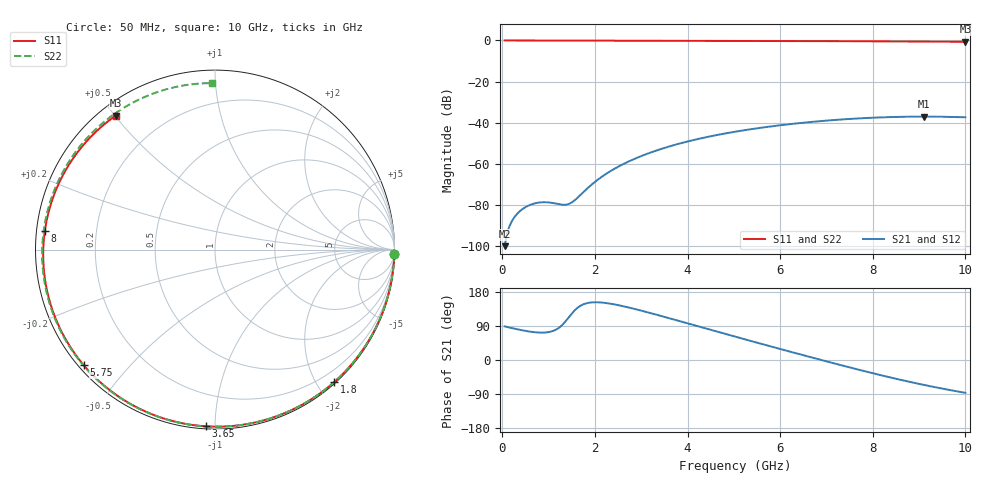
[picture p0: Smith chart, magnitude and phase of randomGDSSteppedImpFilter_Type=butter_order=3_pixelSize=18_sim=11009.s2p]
! freq	dB(S11)	phase(S11)	dB(S12)	phase(S12)
!  dB(S21)	phase(S21)	dB(S22)	phase(S22)
!S-par simulation data
#  GHz  S  DB  R 50
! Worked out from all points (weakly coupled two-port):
!   200 points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, 50 MHz to 10 GHz, reference 50 ohm
!   highest |S21| = -37.02 dB at 9.1 GHz (marker M1); lowest = -100.0 dB at 50 MHz (marker M2)
!   lowest |S11| = -0.6 dB at 10 GHz (marker M3), VSWR 27.15, Z = 2.31 + j25.1 ohm
!   |S11| at or under -10 dB: nowhere
!   |S22| runs from -0.7 to 0.0 dB; largest |S21 - S12| = 0
!   S11 on the Smith chart (normalised r, x): 50 MHz: 0, -83; 1.8 GHz: 0.02, -2.24; 3.65 GHz: 0.01, -0.95; 5.75 GHz: 0.01, -0.38; 8 GHz: 0.02, +0.05; 10 GHz: 0.05, +0.50
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0.05  -0.00 -1.4  -99.99 88.9  -99.99 88.9  -0.00 -1.5
0.6  -0.02 -16.3  -79.94 74.9  -79.94 74.9  -0.02 -18.0
0.9  -0.03 -24.4  -78.62 72.4  -78.62 72.4  -0.03 -26.9
1.4  -0.05 -37.7  -79.73 107.2  -79.73 107.2  -0.05 -41.5
1.55  -0.05 -41.6  -77.91 129.4  -77.91 129.4  -0.06 -45.8
1.75  -0.06 -46.7  -73.74 146.9  -73.74 146.9  -0.06 -51.5
1.8  -0.06 -48.0  -72.67 149.1  -72.67 149.1  -0.07 -52.9
2.15  -0.07 -56.9  -66.24 151.6  -66.24 151.6  -0.08 -62.7
2.5  -0.08 -65.6  -61.40 144.8  -61.40 144.8  -0.09 -72.2
2.9  -0.10 -75.4  -57.12 133.4  -57.12 133.4  -0.10 -82.9
3.4  -0.11 -87.2  -52.96 117.2  -52.96 117.2  -0.12 -95.9
3.65  -0.12 -93.0  -51.23 108.7  -51.23 108.7  -0.13 -102.2
4.3  -0.15 -107.6  -47.52 86.5  -47.52 86.5  -0.16 -118.4
5.05  -0.18 -123.9  -44.27 60.9  -44.27 60.9  -0.20 -136.5
5.75  -0.23 -138.7  -41.93 37.4  -41.93 37.4  -0.24 -153.2
6.7  -0.29 -158.5  -39.55 6.1  -39.55 6.1  -0.32 -176.2
7.35  -0.35 -172.2  -38.37 -14.8  -38.37 -14.8  -0.38 167.5
8  -0.41 173.8  -37.55 -34.9  -37.55 -34.9  -0.44 150.4
8.35  -0.45 166.0  -37.26 -45.2  -37.26 -45.2  -0.48 140.8
9.1  -0.53 148.8  -37.02 -65.6  -37.02 -65.6  -0.56 119.1
9.55  -0.59 137.9  -37.11 -76.6  -37.11 -76.6  -0.60 105.3
10  -0.64 126.5  -37.34 -86.7  -37.34 -86.7  -0.65 90.9
